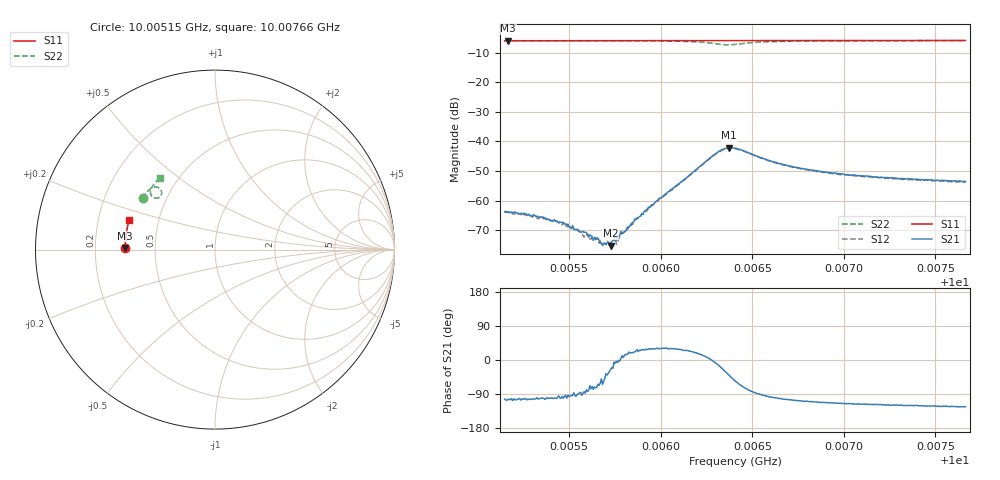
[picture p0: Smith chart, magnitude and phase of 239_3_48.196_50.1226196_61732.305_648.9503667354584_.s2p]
#  HZ  S  RI  R  50.00
! Rohde & Schwarz Vector Network Analyzer
! Rohde-Schwarz,ZNB20-2Port,1311601062101988,3.16
! Created: UTC 3/20/2024, 11:46:47 AM
! freq[Hz]  re:S11  im:S11  re:S21  im:S21  re:S12  im:S12  re:S22  im:S22
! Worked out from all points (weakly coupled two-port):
!   401 points, 10.00515 GHz to 10.00766 GHz, reference 50 ohm
!   highest |S21| = -42.16 dB at 10.00637 GHz (marker M1); lowest = -75.3 dB at 10.00573 GHz (marker M2)
!   lowest |S11| = -6.0 dB at 10.00517 GHz (marker M3), VSWR 3.00, Z = 16.7 + j0.376 ohm
!   |S11| at or under -10 dB: nowhere
!   |S22| runs from -7.4 to -6.0 dB; largest |S21 - S12| = 0.00047
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1.0005147e10  -0.5 0.00716  -0.000145 -0.000628  -0.000122 -0.000639  -0.4039 0.2865
1.0005166e10  -0.4999 0.00846  -0.000149 -0.000619  -0.000135 -0.000634  -0.4031 0.2878
1.0005317e10  -0.5 0.0183  -0.00012 -0.000526  -6.36e-05 -0.000515  -0.3971 0.2967
1.0005436e10  -0.4998 0.0259  -6.05e-05 -0.000442  -3.43e-05 -0.000439  -0.392 0.3038
1.0005531e10  -0.4997 0.0321  -1.33e-05 -0.00032  -6.34e-06 -0.000338  -0.3878 0.3094
1.0005569e10  -0.4995 0.0346  -1.61e-05 -0.000294  5.55e-06 -0.00028  -0.3861 0.3118
1.0005638e10  -0.4994 0.0389  7.67e-05 -0.000227  0.000109 -0.00021  -0.3828 0.316
1.000565e10  -0.4993 0.0399  6.98e-05 -0.000214  0.000128 -0.0002  -0.382 0.3169
1.0005682e10  -0.4994 0.0419  7.6e-05 -0.000157  9.23e-05 -0.000159  -0.3804 0.3189
1.0005726e10  -0.4991 0.0447  0.000156 -7.43e-05  0.000188 -5.81e-05  -0.3781 0.3216
1.000577e10  -0.499 0.0478  0.000228 -5.94e-06  0.00023 2.18e-05  -0.3754 0.3244
1.0005782e10  -0.4991 0.0485  0.000299 2.26e-05  0.000253 2.51e-05  -0.3746 0.3253
1.0005845e10  -0.4985 0.0526  0.000401 0.00014  0.000368 0.00014  -0.3707 0.3292
1.000599e10  -0.4979 0.0619  0.000934 0.00053  0.000856 0.000584  -0.3592 0.3391
1.0006292e10  -0.4951 0.0813  0.00596 -0.000543  0.00585 -0.000264  -0.3012 0.3322
1.0006336e10  -0.4945 0.0839  0.00669 -0.00281  0.00665 -0.00247  -0.2977 0.3107
1.0006374e10  -0.4943 0.086  0.0059 -0.00509  0.00601 -0.00471  -0.3086 0.2928
1.0006405e10  -0.4941 0.0879  0.00439 -0.00627  0.0046 -0.00594  -0.3242 0.2864
1.0006613e10  -0.4924 0.1013  -0.000697 -0.00449  -0.000506 -0.00442  -0.3596 0.325
1.0006827e10  -0.4901 0.115  -0.00113 -0.00307  -0.000932 -0.00305  -0.3507 0.3493
1.0007248e10  -0.4838 0.1415  -0.00118 -0.00212  -0.00104 -0.00211  -0.3292 0.3768
1.0007664e10  -0.4768 0.1671  -0.00115 -0.00175  -0.00105 -0.00174  -0.308 0.3973
